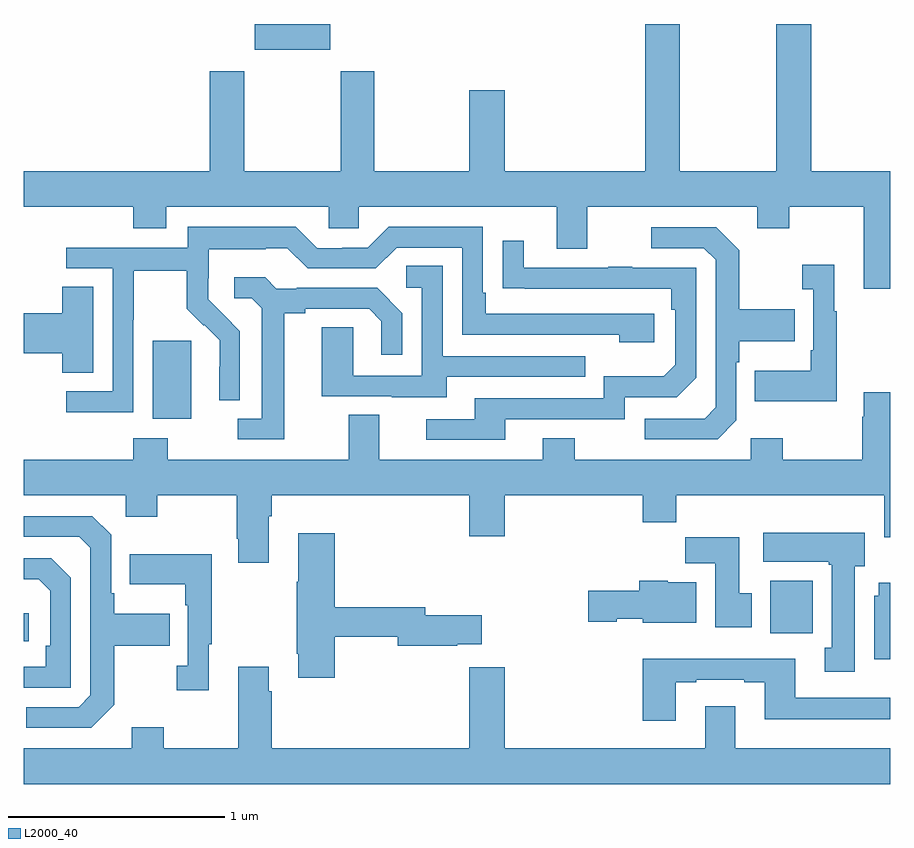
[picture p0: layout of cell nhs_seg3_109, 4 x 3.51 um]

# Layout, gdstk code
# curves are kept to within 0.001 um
import gdstk
lib = gdstk.Library(unit=1e-6, precision=1e-09)
def R(c, l, rs):  # rectangles x0, y0, x1, y1
    for r in rs: c.add(gdstk.rectangle(r[:2], r[2:], *l))
def P(c, l, *ps):  # polygons
    for p in ps: c.add(gdstk.Polygon(p, *l))
L2000_40 = (2000, 40)

nhs_seg3_109 = lib.new_cell('nhs_seg3_109')
R(nhs_seg3_109, L2000_40, [(115,725.55,115.024,725.68), (118.445,725.588,118.642,725.83), (115.595,726.578,115.774,726.939), (116.066,728.282,116.416,728.4)])
P(nhs_seg3_109, L2000_40, [(119,727.72),(118.634,727.72),(118.634,728.4),(118.474,728.4),(118.474,727.72),(118.029,727.72),(118.029,728.4),(117.869,728.4),(117.869,727.72),(117.22,727.72),(117.22,728.095),(117.056,728.095),(117.056,727.72),(116.619,727.72),(116.619,728.182),(116.464,728.182),(116.464,727.72),(116.019,727.72),(116.019,728.182),(115.859,728.182),(115.859,727.72),(115,727.72),(115,727.556),(115.505,727.556),(115.505,727.457),(115.657,727.457),(115.657,727.556),(116.409,727.556),(116.409,727.458),(116.547,727.458),(116.547,727.556),(117.461,727.556),(117.461,727.362),(117.601,727.362),(117.601,727.556),(118.385,727.556),(118.385,727.457),(118.533,727.457),(118.533,727.556),(118.877,727.556),(118.877,727.179),(119,727.179)],
  [(115.506,727.036),(115.509,727.036),(115.509,727.26),(115.753,727.26),(115.753,727.085),(115.83,727.008),(115.833,727.011),(115.904,726.941),(115.904,726.818),(115.902,726.818),(115.902,726.664),(115.998,726.664),(115.998,726.982),(115.852,727.13),(115.852,727.227),(115.854,727.227),(115.854,727.361),(116.117,727.361),(116.117,727.365),(116.217,727.365),(116.31,727.272),(116.625,727.272),(116.721,727.368),(117.024,727.368),(117.024,726.966),(117.749,726.966),(117.749,726.932),(117.91,726.932),(117.91,727.062),(117.133,727.062),(117.133,727.159),(117.12,727.159),(117.12,727.464),(116.685,727.464),(116.589,727.368),(116.471,727.368),(116.471,727.365),(116.355,727.365),(116.255,727.465),(115.758,727.465),(115.758,727.368),(115.197,727.368),(115.197,727.272),(115.41,727.272),(115.41,726.705),(115.197,726.705),(115.197,726.607),(115.506,726.607)],
  [(118.29,726.57),(118.29,726.839),(118.303,726.839),(118.303,726.935),(118.559,726.935),(118.559,727.083),(118.303,727.083),(118.303,727.355),(118.197,727.461),(117.897,727.461),(117.897,727.365),(118.14,727.365),(118.194,727.311),(118.194,726.63),(118.143,726.579),(117.867,726.579),(117.867,726.483),(118.203,726.483)],
  [(117.223,726.576),(117.774,726.576),(117.774,726.678),(118.014,726.678),(118.104,726.768),(118.104,727.275),(117.809,727.275),(117.809,727.28),(117.697,727.28),(117.697,727.275),(117.307,727.275),(117.307,727.399),(117.211,727.399),(117.211,727.18),(117.988,727.179),(117.988,727.082),(118.008,727.082),(118.008,726.828),(117.955,726.775),(117.678,726.775),(117.678,726.672),(117.083,726.672),(117.083,726.576),(116.859,726.576),(116.859,726.48),(117.223,726.48)],
  [(118.753,727.075),(118.741,727.075),(118.741,727.288),(118.593,727.288),(118.593,727.175),(118.644,727.175),(118.644,726.895),(118.632,726.895),(118.632,726.799),(118.375,726.799),(118.375,726.659),(118.753,726.659)],
  [(116.953,726.771),(117.593,726.771),(117.593,726.867),(116.934,726.867),(116.934,727.283),(116.766,727.283),(116.766,727.182),(116.838,727.182),(116.838,726.777),(116.52,726.777),(116.52,727.001),(116.375,727.001),(116.375,726.681),(116.699,726.681),(116.699,726.677),(116.953,726.677)],
  [(116.203,727.064),(116.299,727.064),(116.299,727.086),(116.594,727.086),(116.651,727.029),(116.651,726.873),(116.748,726.873),(116.748,727.066),(116.632,727.182),(116.26,727.182),(116.26,727.179),(116.166,727.179),(116.114,727.231),(115.971,727.231),(115.971,727.134),(116.052,727.134),(116.099,727.087),(116.099,726.579),(115.989,726.579),(115.989,726.483),(116.203,726.483)],
  [(115.321,727.187),(115.178,727.187),(115.178,727.064),(115,727.064),(115,726.881),(115.178,726.881),(115.178,726.79),(115.321,726.79)],
  [(116.131,726.128),(116.144,726.128),(116.144,726.224),(117.056,726.224),(117.056,726.036),(117.22,726.036),(117.22,726.224),(117.857,726.224),(117.857,726.1),(118.013,726.1),(118.013,726.224),(118.973,726.224),(118.973,726.03),(119,726.03),(119,726.7),(118.877,726.7),(118.877,726.587),(118.87,726.587),(118.87,726.388),(118.503,726.388),(118.503,726.487),(118.356,726.487),(118.356,726.388),(117.543,726.388),(117.543,726.487),(117.395,726.487),(117.395,726.388),(116.641,726.388),(116.641,726.596),(116.501,726.596),(116.501,726.388),(115.665,726.388),(115.665,726.487),(115.505,726.487),(115.505,726.388),(115,726.388),(115,726.224),(115.47,726.224),(115.47,726.125),(115.617,726.125),(115.617,726.224),(115.984,726.224),(115.984,726.025),(115.991,726.025),(115.991,725.913),(116.131,725.913)],
  [(115.417,725.257),(115.417,725.53),(115.673,725.53),(115.673,725.677),(115.417,725.677),(115.417,725.773),(115.404,725.773),(115.404,726.042),(115.317,726.129),(115,726.129),(115,726.033),(115.257,726.033),(115.308,725.982),(115.308,725.301),(115.254,725.247),(115.011,725.247),(115.011,725.151),(115.311,725.151)],
  [(118.837,725.898),(118.882,725.898),(118.882,726.052),(118.413,726.052),(118.413,725.918),(118.717,725.918),(118.717,725.905),(118.73,725.905),(118.73,725.522),(118.697,725.522),(118.697,725.409),(118.837,725.409)],
  [(116.435,725.572),(116.726,725.572),(116.726,725.53),(117.002,725.53),(117.002,725.537),(117.115,725.537),(117.115,725.672),(116.854,725.672),(116.854,725.708),(116.435,725.708),(116.435,726.049),(116.267,726.049),(116.267,725.825),(116.26,725.825),(116.26,725.494),(116.267,725.494),(116.267,725.382),(116.435,725.382)],
  [(118.36,725.772),(118.303,725.772),(118.303,726.031),(118.054,726.031),(118.054,725.912),(118.193,725.912),(118.193,725.616),(118.36,725.616)],
  [(115.855,725.537),(115.867,725.537),(115.867,725.953),(115.489,725.953),(115.489,725.813),(115.746,725.813),(115.746,725.717),(115.758,725.717),(115.758,725.438),(115.707,725.438),(115.707,725.325),(115.855,725.325)],
  [(115.218,725.844),(115.128,725.934),(115,725.934),(115,725.837),(115.069,725.837),(115.122,725.784),(115.122,725.53),(115.102,725.53),(115.102,725.433),(115,725.433),(115,725.337),(115.218,725.337)],
  [(118.105,725.824),(117.972,725.824),(117.972,725.83),(117.842,725.83),(117.842,725.784),(117.606,725.784),(117.606,725.642),(117.738,725.642),(117.738,725.654),(117.858,725.654),(117.858,725.636),(118.105,725.636)],
  [(119,725.821),(118.946,725.821),(118.946,725.76),(118.925,725.76),(118.925,725.468),(119,725.468)],
  [(118.009,725.361),(118.105,725.361),(118.105,725.373),(118.325,725.373),(118.325,725.361),(118.421,725.361),(118.421,725.192),(119,725.192),(119,725.289),(118.561,725.289),(118.561,725.47),(117.857,725.47),(117.857,725.184),(118.009,725.184)],
  [(119,725.056),(118.285,725.056),(118.285,725.251),(118.145,725.251),(118.145,725.056),(117.22,725.056),(117.22,725.431),(117.056,725.431),(117.056,725.056),(116.144,725.056),(116.144,725.321),(116.131,725.321),(116.131,725.434),(115.991,725.434),(115.991,725.056),(115.647,725.056),(115.647,725.155),(115.499,725.155),(115.499,725.056),(115,725.056),(115,724.892),(119,724.892)])

lib.write_gds('nhs_seg3_109.gds')
